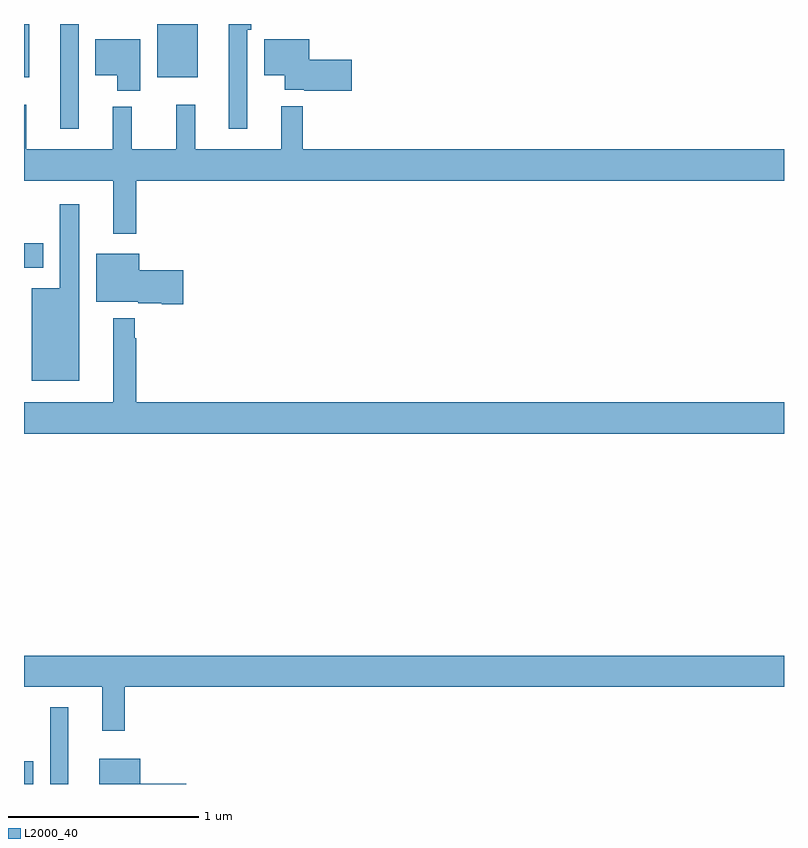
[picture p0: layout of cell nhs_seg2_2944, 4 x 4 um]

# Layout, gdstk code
import gdstk
lib = gdstk.Library(unit=1e-6, precision=1e-09)
def R(c, l, rs):  # rectangles x0, y0, x1, y1
    for r in rs: c.add(gdstk.rectangle(r[:2], r[2:], *l))
def P(c, l, *ps):  # polygons
    for p in ps: c.add(gdstk.Polygon(p, *l))
L2000_40 = (2000, 40)

nhs_seg2_2944 = lib.new_cell('nhs_seg2_2944')
R(nhs_seg2_2944, L2000_40, [(265,637.8,265.048,637.921), (265.137,637.8,265.234,638.203), (265,640.517,265.102,640.647), (265.19,641.25,265.287,641.8), (265,641.519,265.027,641.8), (265.7,641.519,265.915,641.8)])
P(nhs_seg2_2944, L2000_40, [(266.175,641.771),(266.195,641.771),(266.195,641.8),(266.078,641.8),(266.078,641.25),(266.175,641.25)],
  [(265.612,641.719),(265.376,641.719),(265.376,641.531),(265.49,641.531),(265.49,641.45),(265.612,641.45)],
  [(266.725,641.611),(266.5,641.611),(266.5,641.719),(266.264,641.719),(266.264,641.531),(266.372,641.531),(266.372,641.453),(266.476,641.453),(266.476,641.448),(266.725,641.448)],
  [(265.591,640.976),(269,640.976),(269,641.14),(266.466,641.14),(266.466,641.368),(266.354,641.368),(266.354,641.14),(265.901,641.14),(265.901,641.374),(265.801,641.374),(265.801,641.14),(265.566,641.14),(265.566,641.365),(265.466,641.365),(265.466,641.14),(265.013,641.14),(265.013,641.374),(265,641.374),(265,640.976),(265.469,640.976),(265.469,640.695),(265.591,640.695)],
  [(265.291,640.852),(265.187,640.852),(265.187,640.408),(265.04,640.408),(265.04,639.923),(265.291,639.923)],
  [(265.837,640.503),(265.606,640.503),(265.606,640.591),(265.379,640.591),(265.379,640.337),(265.602,640.337),(265.602,640.331),(265.724,640.331),(265.724,640.325),(265.837,640.325)],
  [(269,639.808),(265.591,639.808),(265.591,640.145),(265.583,640.145),(265.583,640.252),(265.469,640.252),(265.469,639.808),(265,639.808),(265,639.644),(269,639.644)],
  [(265.529,638.312),(269,638.312),(269,638.476),(265,638.476),(265,638.312),(265.412,638.312),(265.412,638.079),(265.529,638.079)],
  [(265.855,637.802),(265.612,637.802),(265.612,637.933),(265.397,637.933),(265.397,637.8),(265.855,637.8)])

lib.write_gds('nhs_seg2_2944.gds')
